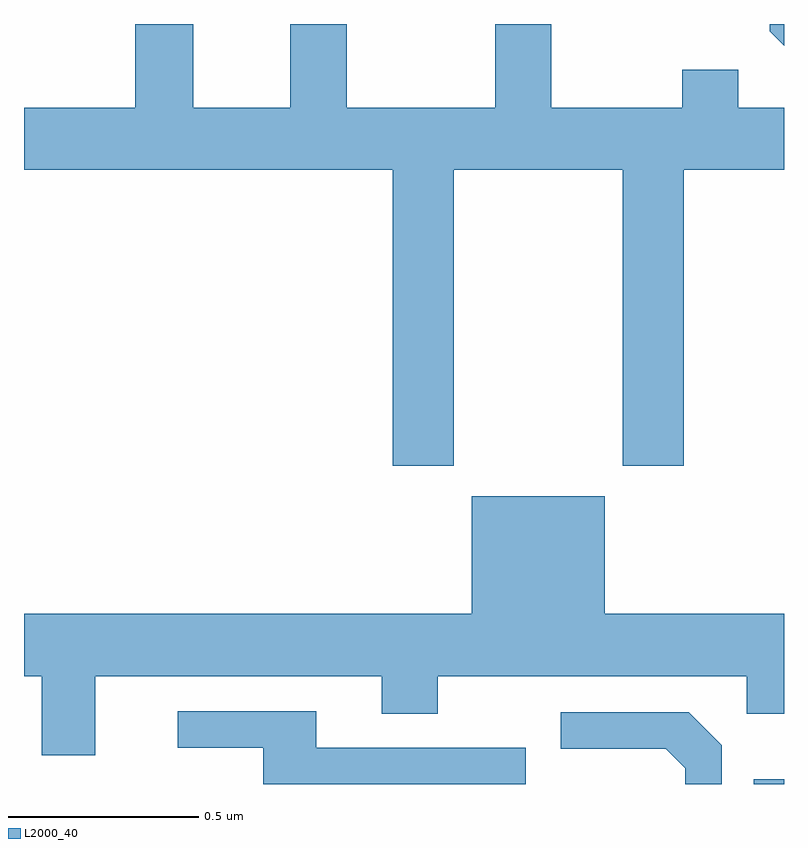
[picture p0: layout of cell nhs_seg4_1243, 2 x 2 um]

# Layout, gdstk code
import gdstk
lib = gdstk.Library(unit=1e-6, precision=1e-09)
def R(c, l, rs):  # rectangles x0, y0, x1, y1
    for r in rs: c.add(gdstk.rectangle(r[:2], r[2:], *l))
def P(c, l, *ps):  # polygons
    for p in ps: c.add(gdstk.Polygon(p, *l))
L2000_40 = (2000, 40)

nhs_seg4_1243 = lib.new_cell('nhs_seg4_1243')
R(nhs_seg4_1243, L2000_40, [(127.921,765.9,128,765.913)])
P(nhs_seg4_1243, L2000_40, [(127.131,767.516),(127.576,767.516),(127.576,766.737),(127.736,766.737),(127.736,767.516),(128,767.516),(128,767.68),(127.879,767.68),(127.879,767.779),(127.732,767.779),(127.732,767.68),(127.387,767.68),(127.387,767.9),(127.24,767.9),(127.24,767.68),(126.849,767.68),(126.849,767.9),(126.701,767.9),(126.701,767.68),(126.445,767.68),(126.445,767.9),(126.293,767.9),(126.293,767.68),(126,767.68),(126,767.516),(126.971,767.516),(126.971,766.737),(127.131,766.737)],
  [(128,767.9),(127.962,767.9),(127.962,767.881),(128,767.843)],
  [(126.187,766.184),(126.941,766.184),(126.941,766.085),(127.089,766.085),(127.089,766.184),(127.902,766.184),(127.902,766.085),(128,766.085),(128,766.348),(127.528,766.348),(127.528,766.657),(127.178,766.657),(127.178,766.348),(126,766.348),(126,766.184),(126.047,766.184),(126.047,765.976),(126.187,765.976)],
  [(127.32,765.996),(126.769,765.996),(126.769,766.092),(126.405,766.092),(126.405,765.996),(126.629,765.996),(126.629,765.9),(127.32,765.9)],
  [(127.836,766.002),(127.749,766.089),(127.413,766.089),(127.413,765.993),(127.689,765.993),(127.74,765.942),(127.74,765.9),(127.836,765.9)])

lib.write_gds('nhs_seg4_1243.gds')
